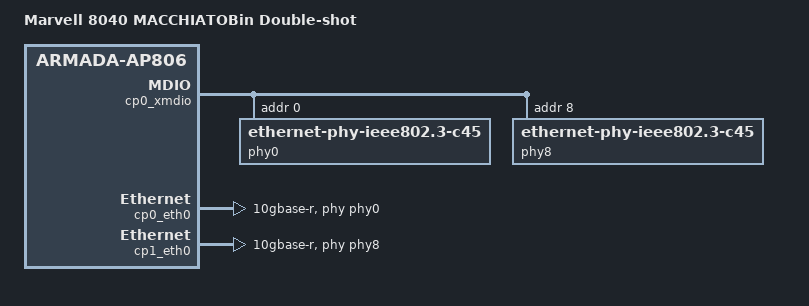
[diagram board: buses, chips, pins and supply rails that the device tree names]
// SPDX-License-Identifier: (GPL-2.0+ OR MIT)
/*
 * Copyright (C) 2016 Marvell Technology Group Ltd.
 *
 * Device Tree file for MACCHIATOBin Armada 8040 community board platform
 */

#include "armada-8040-mcbin.dtsi"

/ {
	model = "Marvell 8040 MACCHIATOBin Double-shot";
	compatible = "marvell,armada8040-mcbin-doubleshot",
			"marvell,armada8040-mcbin", "marvell,armada8040",
			"marvell,armada-ap806-quad", "marvell,armada-ap806";
};

&cp0_xmdio {
	status = "okay";

	phy0: ethernet-phy@0 {
		compatible = "ethernet-phy-ieee802.3-c45";
		reg = <0>;
		sfp = <&sfp_eth0>;
	};

	phy8: ethernet-phy@8 {
		compatible = "ethernet-phy-ieee802.3-c45";
		reg = <8>;
		sfp = <&sfp_eth1>;
	};
};

&cp0_eth0 {
	status = "okay";
	/* Network PHY */
	phy = <&phy0>;
	phy-mode = "10gbase-r";
};

&cp1_eth0 {
	status = "okay";
	/* Network PHY */
	phy = <&phy8>;
	phy-mode = "10gbase-r";
};
